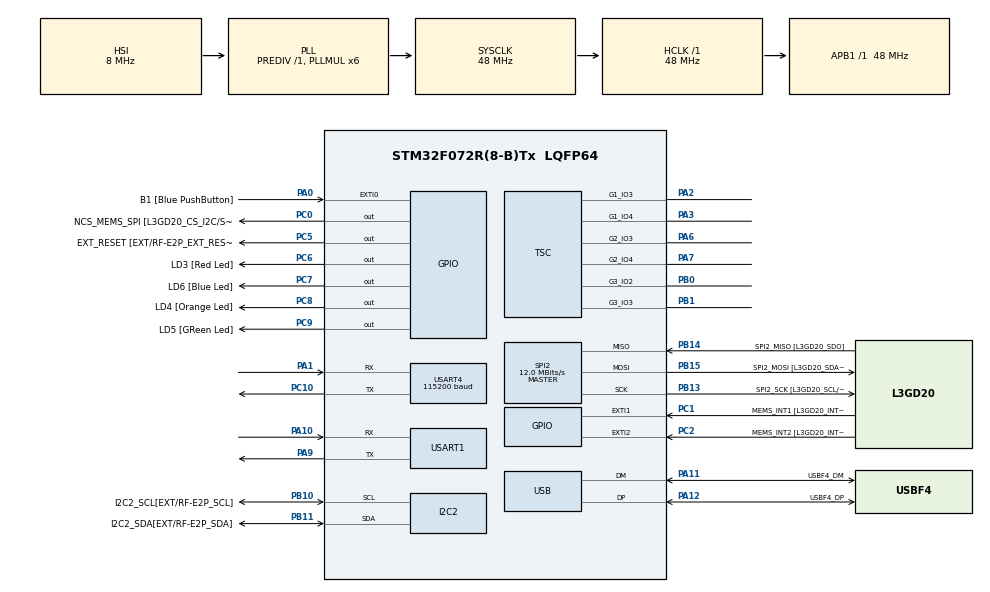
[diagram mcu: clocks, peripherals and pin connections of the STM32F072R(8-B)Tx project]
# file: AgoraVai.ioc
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I2C2.Timing=0x20303E5D
Mcu.Family=STM32F0
Mcu.Name=STM32F072R(8-B)Tx
Mcu.Package=LQFP64
NVIC.USART3_4_IRQn=true\:0\:0\:false\:false\:true\:true\:true\:true
PA0.GPIO_Label=B1 [Blue PushButton]
PA0.GPIO_ModeDefaultEXTI=GPIO_MODE_EVT_RISING
PA0.Signal=GPXTI0
PA1.Mode=Asynchronous
PA1.Signal=USART4_RX
PA10.Mode=Asynchronous
PA10.Signal=USART1_RX
PA11.GPIO_Label=USBF4_DM
PA11.Mode=Device
PA11.Signal=USB_DM
PA12.GPIO_Label=USBF4_DP
PA12.Mode=Device
PA12.Signal=USB_DP
PA13.GPIO_Label=SWDIO
PA13.Mode=Serial_Wire
PA13.Signal=SYS_SWDIO
PA14.GPIO_Label=SWCLK
PA14.Mode=Serial_Wire
PA14.Signal=SYS_SWCLK
PA2.Mode=G1_IO3-Channel
PA2.Signal=TSC_G1_IO3
PA3.Mode=G1_IO4-Sampling
PA3.Signal=TSC_G1_IO4
PA6.Mode=G2_IO3-Channel
PA6.Signal=TSC_G2_IO3
PA7.Mode=G2_IO4-Sampling
PA7.Signal=TSC_G2_IO4
PA9.Mode=Asynchronous
PA9.Signal=USART1_TX
PB0.Mode=G3_IO2-Channel
PB0.Signal=TSC_G3_IO2
PB1.Mode=G3_IO3-Sampling
PB1.Signal=TSC_G3_IO3
PB10.GPIO_Label=I2C2_SCL[EXT/RF-E2P_SCL]
PB10.GPIO_Pu=GPIO_PULLUP
PB10.Mode=I2C
PB10.Signal=I2C2_SCL
PB11.GPIO_Label=I2C2_SDA[EXT/RF-E2P_SDA]
PB11.GPIO_Pu=GPIO_PULLUP
PB11.Mode=I2C
PB11.Signal=I2C2_SDA
PB13.GPIO_Label=SPI2_SCK [L3GD20_SCL/SPC]
PB13.Mode=Full_Duplex_Master
PB13.Signal=SPI2_SCK
PB14.GPIO_Label=SPI2_MISO [L3GD20_SDO]
PB14.Mode=Full_Duplex_Master
PB14.Signal=SPI2_MISO
PB15.GPIO_Label=SPI2_MOSI [L3GD20_SDA/SDI]
PB15.Mode=Full_Duplex_Master
PB15.Signal=SPI2_MOSI
PC0.GPIO_Label=NCS_MEMS_SPI [L3GD20_CS_I2C/SPI]
PC0.Signal=GPIO_Output
PC1.GPIO_Label=MEMS_INT1 [L3GD20_INT1]
PC1.GPIO_ModeDefaultEXTI=GPIO_MODE_EVT_RISING
PC1.Signal=GPXTI1
PC10.Mode=Asynchronous
PC10.Signal=USART4_TX
PC2.GPIO_Label=MEMS_INT2 [L3GD20_INT2]
PC2.GPIO_ModeDefaultEXTI=GPIO_MODE_EVT_RISING
PC2.Signal=GPXTI2
PC5.GPIO_Label=EXT_RESET [EXT/RF-E2P_EXT_RESET]
PC5.Signal=GPIO_Output
PC6.GPIO_Label=LD3 [Red Led]
PC6.Signal=GPIO_Output
PC7.GPIO_Label=LD6 [Blue Led]
PC7.Signal=GPIO_Output
PC8.GPIO_Label=LD4 [Orange Led]
PC8.Signal=GPIO_Output
PC9.GPIO_Label=LD5 [GReen Led]
PC9.Signal=GPIO_Output
ProjectManager.HeapSize=0x200
ProjectManager.StackSize=0x400
ProjectManager.TargetToolchain=STM32CubeIDE
RCC.AHBFreq_Value=48000000
RCC.APB1Freq_Value=48000000
RCC.APB1TimFreq_Value=48000000
RCC.HCLKFreq_Value=48000000
RCC.PLLMUL=RCC_PLL_MUL6
RCC.SYSCLKFreq_VALUE=48000000
RCC.SYSCLKSource=RCC_SYSCLKSOURCE_PLLCLK
SPI2.BaudRatePrescaler=SPI_BAUDRATEPRESCALER_4
SPI2.CalculateBaudRate=12.0 MBits/s
SPI2.Direction=SPI_DIRECTION_2LINES
SPI2.Mode=SPI_MODE_MASTER
SPI2.VirtualType=VM_MASTER
USART1.VirtualMode-Asynchronous=VM_ASYNC
USART4.BaudRate=115200
USART4.VirtualMode-Asynchronous=VM_ASYNC
USB.phy_itface=PCD_PHY_EMBEDDED
USB.speed=PCD_SPEED_FULL
board=STM32F072B-DISCO

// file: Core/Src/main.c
/* USER CODE BEGIN Header */
/**
  ******************************************************************************
  * @file           : main.c
  * @brief          : Main program body
  ******************************************************************************
  * @attention
  *
  * Copyright (c) 2023 STMicroelectronics.
  * All rights reserved.
  *
  * This software is licensed under terms that can be found in the LICENSE file
  * in the root directory of this software component.
  * If no LICENSE file comes with this software, it is provided AS-IS.
  *
  ******************************************************************************
  */
/* USER CODE END Header */
#include "main.h"

/* USER CODE BEGIN Includes */
#include <string.h>
#include <Stdbool.h>
/* USER CODE END Includes */

I2C_HandleTypeDef hi2c2;

SPI_HandleTypeDef hspi2;

TSC_HandleTypeDef htsc;

UART_HandleTypeDef huart1;
UART_HandleTypeDef huart4;

PCD_HandleTypeDef hpcd_USB_FS;

/* USER CODE BEGIN PV */
uint8_t buf[12];
uint8_t rx_idx;
uint8_t rx_data[2];
uint8_t rx_buffee[100];
int transfer_cplt = 0;
/* USER CODE END PV */

void SystemClock_Config(void);
static void MX_GPIO_Init(void);
static void MX_I2C2_Init(void);
static void MX_SPI2_Init(void);
static void MX_TSC_Init(void);
static void MX_USB_PCD_Init(void);
static void MX_USART4_UART_Init(void);
static void MX_USART1_UART_Init(void);

int main(void)
{

  /* MCU Configuration--------------------------------------------------------*/

  /* Reset of all peripherals, Initializes the Flash interface and the Systick. */
  HAL_Init();

  /* Configure the system clock */
  SystemClock_Config();

  /* Initialize all configured peripherals */
  MX_GPIO_Init();
  MX_I2C2_Init();
  MX_SPI2_Init();
  MX_TSC_Init();
  MX_USB_PCD_Init();
  MX_USART4_UART_Init();
  MX_USART1_UART_Init();

  /* Infinite loop */
  /* USER CODE BEGIN WHILE */
//  HAL_UART_Receive_IT(&huart1, rx_data, 1);
  int j = 0;
  while (1)
  {
	 HAL_UART_Receive(&huart1, rx_data, 1, 10);
//	 strcpy((char*)rx_data, "Hello!\r\n");
	 if(rx_data[0] == '\n'){
		 transfer_cplt++;
	 }else{
		 transfer_cplt = 0;
	 }
	 if(transfer_cplt <= 2){
		 HAL_UART_Transmit(&huart4, rx_data, 1, 10);
		 if(j < 100){
			 rx_buffee[j++] = rx_data[0];
		 }else{
			 j=0;
		 }
	 }
//	 HAL_Delay(500);
    /* USER CODE END WHILE */

  }
}

void SystemClock_Config(void)
{
  RCC_OscInitTypeDef RCC_OscInitStruct = {0};
  RCC_ClkInitTypeDef RCC_ClkInitStruct = {0};
  RCC_PeriphCLKInitTypeDef PeriphClkInit = {0};

  /** Initializes the RCC Oscillators according to the specified parameters
  * in the RCC_OscInitTypeDef structure.
  */
  RCC_OscInitStruct.OscillatorType = RCC_OSCILLATORTYPE_HSI|RCC_OSCILLATORTYPE_HSI48;
  RCC_OscInitStruct.HSIState = RCC_HSI_ON;
  RCC_OscInitStruct.HSI48State = RCC_HSI48_ON;
  RCC_OscInitStruct.HSICalibrationValue = RCC_HSICALIBRATION_DEFAULT;
  RCC_OscInitStruct.PLL.PLLState = RCC_PLL_ON;
  RCC_OscInitStruct.PLL.PLLSource = RCC_PLLSOURCE_HSI;
  RCC_OscInitStruct.PLL.PLLMUL = RCC_PLL_MUL6;
  RCC_OscInitStruct.PLL.PREDIV = RCC_PREDIV_DIV1;
  if (HAL_RCC_OscConfig(&RCC_OscInitStruct) != HAL_OK)
  {
    Error_Handler();
  }

  /** Initializes the CPU, AHB and APB buses clocks
  */
  RCC_ClkInitStruct.ClockType = RCC_CLOCKTYPE_HCLK|RCC_CLOCKTYPE_SYSCLK
                              |RCC_CLOCKTYPE_PCLK1;
  RCC_ClkInitStruct.SYSCLKSource = RCC_SYSCLKSOURCE_PLLCLK;
  RCC_ClkInitStruct.AHBCLKDivider = RCC_SYSCLK_DIV1;
  RCC_ClkInitStruct.APB1CLKDivider = RCC_HCLK_DIV1;

  if (HAL_RCC_ClockConfig(&RCC_ClkInitStruct, FLASH_LATENCY_1) != HAL_OK)
  {
    Error_Handler();
  }
  PeriphClkInit.PeriphClockSelection = RCC_PERIPHCLK_USB|RCC_PERIPHCLK_USART1;
  PeriphClkInit.Usart1ClockSelection = RCC_USART1CLKSOURCE_PCLK1;
  PeriphClkInit.UsbClockSelection = RCC_USBCLKSOURCE_HSI48;

  if (HAL_RCCEx_PeriphCLKConfig(&PeriphClkInit) != HAL_OK)
  {
    Error_Handler();
  }
}

static void MX_I2C2_Init(void)
{

  hi2c2.Instance = I2C2;
  hi2c2.Init.Timing = 0x20303E5D;
  hi2c2.Init.OwnAddress1 = 0;
  hi2c2.Init.AddressingMode = I2C_ADDRESSINGMODE_7BIT;
  hi2c2.Init.DualAddressMode = I2C_DUALADDRESS_DISABLE;
  hi2c2.Init.OwnAddress2 = 0;
  hi2c2.Init.OwnAddress2Masks = I2C_OA2_NOMASK;
  hi2c2.Init.GeneralCallMode = I2C_GENERALCALL_DISABLE;
  hi2c2.Init.NoStretchMode = I2C_NOSTRETCH_DISABLE;
  if (HAL_I2C_Init(&hi2c2) != HAL_OK)
  {
    Error_Handler();
  }

  /** Configure Analogue filter
  */
  if (HAL_I2CEx_ConfigAnalogFilter(&hi2c2, I2C_ANALOGFILTER_ENABLE) != HAL_OK)
  {
    Error_Handler();
  }

  /** Configure Digital filter
  */
  if (HAL_I2CEx_ConfigDigitalFilter(&hi2c2, 0) != HAL_OK)
  {
    Error_Handler();
  }

}

static void MX_SPI2_Init(void)
{

  /* SPI2 parameter configuration*/
  hspi2.Instance = SPI2;
  hspi2.Init.Mode = SPI_MODE_MASTER;
  hspi2.Init.Direction = SPI_DIRECTION_2LINES;
  hspi2.Init.DataSize = SPI_DATASIZE_4BIT;
  hspi2.Init.CLKPolarity = SPI_POLARITY_LOW;
  hspi2.Init.CLKPhase = SPI_PHASE_1EDGE;
  hspi2.Init.NSS = SPI_NSS_SOFT;
  hspi2.Init.BaudRatePrescaler = SPI_BAUDRATEPRESCALER_4;
  hspi2.Init.FirstBit = SPI_FIRSTBIT_MSB;
  hspi2.Init.TIMode = SPI_TIMODE_DISABLE;
  hspi2.Init.CRCCalculation = SPI_CRCCALCULATION_DISABLE;
  hspi2.Init.CRCPolynomial = 7;
  hspi2.Init.CRCLength = SPI_CRC_LENGTH_DATASIZE;
  hspi2.Init.NSSPMode = SPI_NSS_PULSE_ENABLE;
  if (HAL_SPI_Init(&hspi2) != HAL_OK)
  {
    Error_Handler();
  }

}

static void MX_TSC_Init(void)
{

  /** Configure the TSC peripheral
  */
  htsc.Instance = TSC;
  htsc.Init.CTPulseHighLength = TSC_CTPH_2CYCLES;
  htsc.Init.CTPulseLowLength = TSC_CTPL_2CYCLES;
  htsc.Init.SpreadSpectrum = DISABLE;
  htsc.Init.SpreadSpectrumDeviation = 1;
  htsc.Init.SpreadSpectrumPrescaler = TSC_SS_PRESC_DIV1;
  htsc.Init.PulseGeneratorPrescaler = TSC_PG_PRESC_DIV4;
  htsc.Init.MaxCountValue = TSC_MCV_8191;
  htsc.Init.IODefaultMode = TSC_IODEF_OUT_PP_LOW;
  htsc.Init.SynchroPinPolarity = TSC_SYNC_POLARITY_FALLING;
  htsc.Init.AcquisitionMode = TSC_ACQ_MODE_NORMAL;
  htsc.Init.MaxCountInterrupt = DISABLE;
  htsc.Init.ChannelIOs = TSC_GROUP1_IO3|TSC_GROUP2_IO3|TSC_GROUP3_IO2;
  htsc.Init.ShieldIOs = 0;
  htsc.Init.SamplingIOs = TSC_GROUP1_IO4|TSC_GROUP2_IO4|TSC_GROUP3_IO3;
  if (HAL_TSC_Init(&htsc) != HAL_OK)
  {
    Error_Handler();
  }

}

static void MX_USART1_UART_Init(void)
{

  huart1.Instance = USART1;
  huart1.Init.BaudRate = 9600;
  huart1.Init.WordLength = UART_WORDLENGTH_8B;
  huart1.Init.StopBits = UART_STOPBITS_1;
  huart1.Init.Parity = UART_PARITY_NONE;
  huart1.Init.Mode = UART_MODE_TX_RX;
  huart1.Init.HwFlowCtl = UART_HWCONTROL_NONE;
  huart1.Init.OverSampling = UART_OVERSAMPLING_16;
  huart1.Init.OneBitSampling = UART_ONE_BIT_SAMPLE_DISABLE;
  huart1.AdvancedInit.AdvFeatureInit = UART_ADVFEATURE_NO_INIT;
  if (HAL_UART_Init(&huart1) != HAL_OK)
  {
    Error_Handler();
  }

}

static void MX_USART4_UART_Init(void)
{

  huart4.Instance = USART4;
  huart4.Init.BaudRate = 115200;
  huart4.Init.WordLength = UART_WORDLENGTH_8B;
  huart4.Init.StopBits = UART_STOPBITS_1;
  huart4.Init.Parity = UART_PARITY_NONE;
  huart4.Init.Mode = UART_MODE_TX_RX;
  huart4.Init.HwFlowCtl = UART_HWCONTROL_NONE;
  huart4.Init.OverSampling = UART_OVERSAMPLING_16;
  huart4.Init.OneBitSampling = UART_ONE_BIT_SAMPLE_DISABLE;
  huart4.AdvancedInit.AdvFeatureInit = UART_ADVFEATURE_NO_INIT;
  if (HAL_UART_Init(&huart4) != HAL_OK)
  {
    Error_Handler();
  }

}

static void MX_USB_PCD_Init(void)
{

  hpcd_USB_FS.Instance = USB;
  hpcd_USB_FS.Init.dev_endpoints = 8;
  hpcd_USB_FS.Init.speed = PCD_SPEED_FULL;
  hpcd_USB_FS.Init.phy_itface = PCD_PHY_EMBEDDED;
  hpcd_USB_FS.Init.low_power_enable = DISABLE;
  hpcd_USB_FS.Init.lpm_enable = DISABLE;
  hpcd_USB_FS.Init.battery_charging_enable = DISABLE;
  if (HAL_PCD_Init(&hpcd_USB_FS) != HAL_OK)
  {
    Error_Handler();
  }

}

static void MX_GPIO_Init(void)
{
  GPIO_InitTypeDef GPIO_InitStruct = {0};

  /* GPIO Ports Clock Enable */
  __HAL_RCC_GPIOC_CLK_ENABLE();
  __HAL_RCC_GPIOA_CLK_ENABLE();
  __HAL_RCC_GPIOB_CLK_ENABLE();

  /*Configure GPIO pin Output Level */
  HAL_GPIO_WritePin(GPIOC, NCS_MEMS_SPI_Pin|EXT_RESET_Pin|LD3_Pin|LD6_Pin
                          |LD4_Pin|LD5_Pin, GPIO_PIN_RESET);

  /*Configure GPIO pins : NCS_MEMS_SPI_Pin EXT_RESET_Pin LD3_Pin LD6_Pin
                           LD4_Pin LD5_Pin */
  GPIO_InitStruct.Pin = NCS_MEMS_SPI_Pin|EXT_RESET_Pin|LD3_Pin|LD6_Pin
                          |LD4_Pin|LD5_Pin;
  GPIO_InitStruct.Mode = GPIO_MODE_OUTPUT_PP;
  GPIO_InitStruct.Pull = GPIO_NOPULL;
  GPIO_InitStruct.Speed = GPIO_SPEED_FREQ_LOW;
  HAL_GPIO_Init(GPIOC, &GPIO_InitStruct);

  /*Configure GPIO pins : MEMS_INT1_Pin MEMS_INT2_Pin */
  GPIO_InitStruct.Pin = MEMS_INT1_Pin|MEMS_INT2_Pin;
  GPIO_InitStruct.Mode = GPIO_MODE_EVT_RISING;
  GPIO_InitStruct.Pull = GPIO_NOPULL;
  HAL_GPIO_Init(GPIOC, &GPIO_InitStruct);

  /*Configure GPIO pin : B1_Pin */
  GPIO_InitStruct.Pin = B1_Pin;
  GPIO_InitStruct.Mode = GPIO_MODE_EVT_RISING;
  GPIO_InitStruct.Pull = GPIO_NOPULL;
  HAL_GPIO_Init(B1_GPIO_Port, &GPIO_InitStruct);

}

/* USER CODE BEGIN 4 */
int i = 0;

void HAL_UART_RxCpltCallback(UART_HandleTypeDef *huart)
{
  /* Prevent unused argument(s) compilation warning */
  UNUSED(huart);

  /* NOTE : This function should not be modified, when the callback is needed,
            the HAL_UART_RxCpltCallback can be implemented in the user file.
   */
//  if(i<100){
//	  rx_buffee[i++] = rx_data[0];
//  }else{
//	  i=0;
//  }
  HAL_UART_Transmit(&huart4, rx_data, 1, 10);
  HAL_UART_Receive_IT(&huart1, rx_data, 1);
}

/* USER CODE END 4 */

void Error_Handler(void)
{
  __disable_irq();
  while (1)
  {
  }
}
